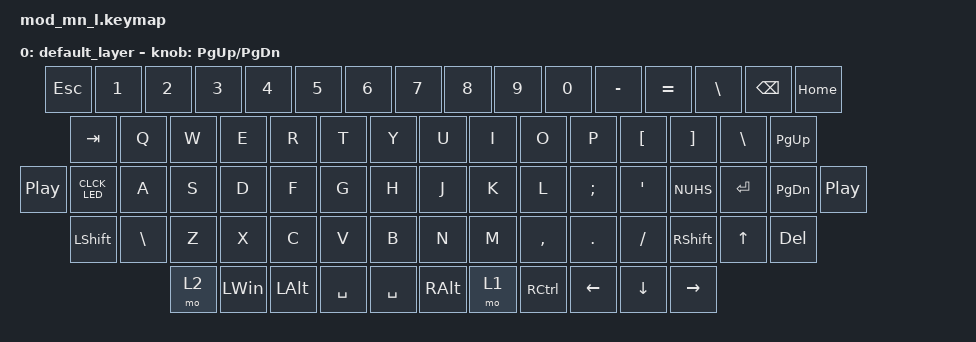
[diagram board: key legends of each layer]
/*
 * copyright (c) 2025 ZMK project contributors
 *
 * SPDX-license-identifier: MIT
 */

#include <behaviors.dtsi>
#include <behaviors/rgbled_widget.dtsi>
#include <dt-bindings/zmk/keys.h>
#include <dt-bindings/zmk/bt.h>
#include <dt-bindings/zmk/rgb.h>

/ {
    macros {
        /* work-around for CAPS LOCK LED indicator functionality */
        CLCK_LED: CLCK_LED {
            compatible = "zmk,behavior-macro";
            #binding-cells = <0>;
            bindings =
                <&kp CLCK>,
                <&rgb_ug RGB_TOG>;
        };
    };

    keymap {
        compatible = "zmk,keymap";

        default_layer {
            bindings = <
                         &kp ESC &kp N1  &kp N2  &kp N3  &kp N4  &kp N5  &kp N6               &kp N7  &kp N8  &kp N9  &kp N0  &kp MINUS  &kp EQUAL   &kp BSLH &kp BSPC &kp HOME
                         &kp TAB     &kp Q   &kp W   &kp E   &kp R   &kp T &kp Y                 &kp U   &kp I   &kp O   &kp P   &kp LBKT    &kp RBKT        &kp BSLH &kp PG_UP
                &kp C_PP &CLCK_LED     &kp A   &kp S   &kp D   &kp F   &kp G &kp H                 &kp J   &kp K   &kp L   &kp SEMI   &kp APOS   &kp NUHS    &kp RET  &kp PG_DN &kp C_PP
                         &kp LSHFT &kp BSLH &kp Z  &kp X   &kp C   &kp V                 &kp B   &kp N   &kp M   &kp COMMA &kp DOT &kp FSLH &kp RSHFT          &kp UP   &kp DEL
                         &mo 2 &kp LWIN  &kp LALT        &kp SPACE                       &kp SPACE        &kp RALT       &mo 1       &kp RCTRL      &kp LEFT &kp DOWN &kp RIGHT
            >;

            sensor-bindings = <&inc_dec_kp PG_UP PG_DN>;
        };

        /*fn_layer {
            bindings = <
                       &kp GRAVE &kp F1   &kp F2          &kp F3          &kp F4          &kp F5     &kp F6
                       &trans    &trans   &trans          &trans          &trans          &trans
                &trans &trans    &trans   &trans          &trans          &trans          &trans
                       &trans    &trans   &trans          &trans          &trans          &trans
                       &trans    &trans   &trans                          &trans
            >;

            sensor-bindings = <&inc_dec_kp PG_UP PG_DN>;
        };

        util_layer {
            bindings = <
                       &ind_bat  &ind_con &rgb_ug RGB_HUI &rgb_ug RGB_SAD &rgb_ug RGB_SAI &trans     &bootloader
                       &rgb_ug RGB_BRD &rgb_ug RGB_BRI   &rgb_ug RGB_TOG          &trans          &trans          &sys_reset
                &trans &trans    &trans   &trans          &trans          &trans          &trans
                       &trans    &trans   &trans          &trans          &trans          &trans
                       &trans    &trans   &trans                          &trans
            >;

            sensor-bindings = <&inc_dec_kp PG_UP PG_DN>;
        };*/
    };
};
